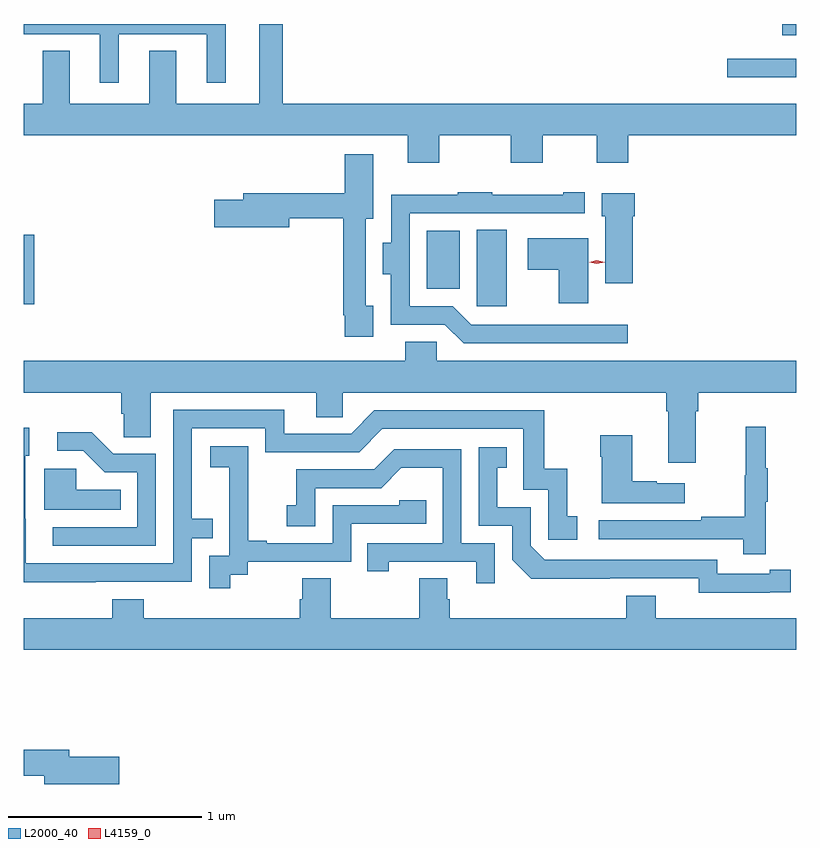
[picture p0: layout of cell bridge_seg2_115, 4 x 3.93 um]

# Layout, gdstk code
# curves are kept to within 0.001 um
import gdstk
lib = gdstk.Library(unit=1e-6, precision=1e-09)
def R(c, l, rs):  # rectangles x0, y0, x1, y1
    for r in rs: c.add(gdstk.rectangle(r[:2], r[2:], *l))
def P(c, l, *ps):  # polygons
    for p in ps: c.add(gdstk.Polygon(p, *l))
L2000_40 = (2000, 40)
L4159_0 = (4159, 0)

bridge_seg2_115 = lib.new_cell('bridge_seg2_115')
R(bridge_seg2_115, L2000_40, [(456.182,660.072,456.337,660.467), (453.837,660.082,453.893,660.442), (455.924,660.161,456.094,660.463), (457.479,661.256,457.837,661.353), (457.763,661.473,457.837,661.532)])
P(bridge_seg2_115, L2000_40, [(454.487,661.393),(454.487,661.12),(454.075,661.12),(454.075,661.393),(453.935,661.393),(453.935,661.12),(453.837,661.12),(453.837,660.956),(455.825,660.956),(455.825,660.813),(455.989,660.813),(455.989,660.956),(456.359,660.956),(456.359,660.813),(456.523,660.813),(456.523,660.956),(456.803,660.956),(456.803,660.813),(456.967,660.813),(456.967,660.956),(457.837,660.956),(457.837,661.12),(455.179,661.12),(455.179,661.532),(455.057,661.532),(455.057,661.12),(454.627,661.12),(454.627,661.393)],
  [(454.33,661.478),(454.784,661.478),(454.784,661.227),(454.882,661.227),(454.882,661.532),(453.837,661.532),(453.837,661.478),(454.232,661.478),(454.232,661.227),(454.33,661.227)],
  [(455.647,660.073),(455.607,660.073),(455.607,660.524),(455.647,660.524),(455.647,660.859),(455.498,660.859),(455.498,660.655),(454.973,660.655),(454.973,660.621),(454.824,660.621),(454.824,660.479),(455.212,660.479),(455.212,660.526),(455.491,660.526),(455.491,660.025),(455.499,660.025),(455.499,659.913),(455.647,659.913)],
  [(456.964,659.976),(456.153,659.976),(456.057,660.072),(455.835,660.072),(455.835,660.552),(456.742,660.552),(456.742,660.661),(456.629,660.661),(456.629,660.649),(456.263,660.649),(456.263,660.661),(456.085,660.661),(456.085,660.649),(455.739,660.649),(455.739,660.4),(455.696,660.4),(455.696,660.236),(455.738,660.236),(455.738,659.976),(456.018,659.976),(456.114,659.88),(456.964,659.88)],
  [(456.989,660.537),(457.001,660.537),(457.001,660.655),(456.83,660.655),(456.83,660.537),(456.848,660.537),(456.848,660.189),(456.989,660.189)],
  [(456.76,660.424),(456.447,660.424),(456.447,660.26),(456.608,660.26),(456.608,660.087),(456.76,660.087)],
  [(457.315,659.528),(457.328,659.528),(457.328,659.624),(457.837,659.624),(457.837,659.788),(455.976,659.788),(455.976,659.886),(455.813,659.886),(455.813,659.788),(453.837,659.788),(453.837,659.624),(454.343,659.624),(454.343,659.515),(454.356,659.515),(454.356,659.392),(454.495,659.392),(454.495,659.624),(455.351,659.624),(455.351,659.497),(455.49,659.497),(455.49,659.624),(457.163,659.624),(457.163,659.528),(457.175,659.528),(457.175,659.262),(457.315,659.262)],
  [(454.211,658.644),(454.707,658.644),(454.707,658.869),(454.817,658.869),(454.817,658.97),(454.707,658.97),(454.707,659.439),(455.088,659.439),(455.088,659.316),(455.574,659.316),(455.694,659.436),(456.423,659.436),(456.423,659.121),(456.552,659.121),(456.552,658.863),(456.703,658.863),(456.703,658.983),(456.65,658.983),(456.65,659.23),(456.532,659.23),(456.532,659.532),(455.652,659.532),(455.532,659.412),(455.185,659.412),(455.185,659.535),(454.611,659.535),(454.611,658.74),(453.847,658.74),(453.846,659.298),(453.865,659.298),(453.865,659.443),(453.837,659.443),(453.837,658.643)],
  [(457.679,659.059),(457.69,659.059),(457.69,659.233),(457.679,659.233),(457.679,659.446),(457.576,659.446),(457.576,659.196),(457.569,659.196),(457.569,658.982),(457.345,658.982),(457.345,658.962),(456.813,658.962),(456.813,658.866),(457.561,658.866),(457.561,658.788),(457.679,658.788)],
  [(454.521,659.307),(454.302,659.307),(454.189,659.42),(454.011,659.42),(454.011,659.322),(454.145,659.322),(454.256,659.211),(454.425,659.211),(454.425,658.926),(453.987,658.926),(453.987,658.83),(454.521,658.83)],
  [(457.258,659.155),(457.115,659.155),(457.115,659.165),(456.988,659.165),(456.988,659.404),(456.823,659.404),(456.823,659.291),(456.83,659.291),(456.83,659.051),(457.258,659.051)],
  [(454.906,658.681),(454.998,658.681),(454.998,658.749),(455.532,658.749),(455.532,658.944),(455.921,658.944),(455.921,659.067),(455.781,659.067),(455.781,659.04),(455.436,659.04),(455.436,658.845),(455.095,658.845),(455.095,658.858),(455,658.858),(455,659.141),(455.001,659.141),(455.001,659.347),(454.803,659.347),(454.803,659.237),(454.901,659.237),(454.901,659.009),(454.902,659.009),(454.902,658.779),(454.797,658.779),(454.797,658.611),(454.906,658.611)],
  [(457.7,658.59),(457.808,658.59),(457.808,658.706),(457.7,658.706),(457.7,658.686),(457.428,658.686),(457.428,658.758),(456.534,658.758),(456.462,658.83),(456.462,659.031),(456.289,659.031),(456.289,659.235),(456.338,659.235),(456.338,659.341),(456.192,659.341),(456.192,658.935),(456.366,658.935),(456.366,658.758),(456.464,658.661),(457.332,658.662),(457.332,658.589)],
  [(456.276,658.845),(456.102,658.845),(456.102,659.331),(455.756,659.331),(455.651,659.226),(455.248,659.226),(455.248,659.041),(455.199,659.041),(455.199,658.932),(455.346,658.932),(455.346,659.13),(455.688,659.13),(455.792,659.234),(456.006,659.234),(456.006,658.845),(455.617,658.845),(455.617,658.698),(455.728,658.698),(455.728,658.749),(456.179,658.749),(456.179,658.638),(456.276,658.638)],
  [(454.34,659.122),(454.11,659.122),(454.11,659.23),(453.944,659.23),(453.944,659.018),(454.34,659.018)],
  [(456.956,658.573),(456.956,658.456),(456.044,658.456),(456.044,658.554),(456.031,658.554),(456.031,658.664),(455.884,658.664),(455.884,658.456),(455.427,658.456),(455.427,658.664),(455.279,658.664),(455.279,658.554),(455.267,658.554),(455.267,658.456),(454.46,658.456),(454.46,658.555),(454.295,658.555),(454.295,658.456),(453.837,658.456),(453.837,658.292),(457.837,658.292),(457.837,658.456),(457.108,658.456),(457.108,658.573)],
  [(454.333,657.74),(454.072,657.74),(454.072,657.776),(453.837,657.776),(453.837,657.64),(453.944,657.64),(453.944,657.598),(454.333,657.598)])
P(bridge_seg2_115, L4159_0, [(456.804,660.29),(456.764,660.3),(456.763,660.3),(456.764,660.3),(456.804,660.31),(456.845,660.3),(456.845,660.3),(456.845,660.3)])

lib.write_gds('bridge_seg2_115.gds')
